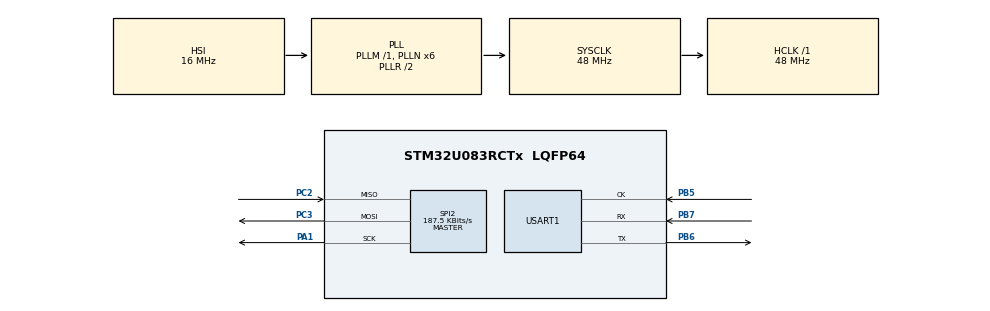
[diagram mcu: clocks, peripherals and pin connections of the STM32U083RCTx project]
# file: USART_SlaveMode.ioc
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Mcu.Family=STM32U0
Mcu.Name=STM32U083RCTx
Mcu.Package=LQFP64
NVIC.PriorityGroup=NVIC_PRIORITYGROUP_2
PA1.GPIO_PuPd=GPIO_NOPULL
PA1.GPIO_Speed=GPIO_SPEED_FREQ_VERY_HIGH
PA1.Mode=Full_Duplex_Master
PA1.Signal=SPI2_SCK
PB5.GPIO_PuPd=GPIO_PULLDOWN
PB5.GPIO_Speed=GPIO_SPEED_FREQ_VERY_HIGH
PB5.Mode=Synchronous Slave
PB5.Signal=USART1_CK
PB6.GPIO_PuPd=GPIO_PULLUP
PB6.GPIO_Speed=GPIO_SPEED_FREQ_VERY_HIGH
PB6.Mode=Synchronous Slave
PB6.Signal=USART1_TX
PB7.GPIO_PuPd=GPIO_PULLUP
PB7.GPIO_Speed=GPIO_SPEED_FREQ_VERY_HIGH
PB7.Mode=Synchronous Slave
PB7.Signal=USART1_RX
PC2.GPIO_Speed=GPIO_SPEED_FREQ_VERY_HIGH
PC2.Mode=Full_Duplex_Master
PC2.Signal=SPI2_MISO
PC3.GPIO_Speed=GPIO_SPEED_FREQ_VERY_HIGH
PC3.Mode=Full_Duplex_Master
PC3.Signal=SPI2_MOSI
ProjectManager.HeapSize=0x200
ProjectManager.StackSize=0x400
ProjectManager.TargetToolchain=EWARM V9.20
RCC.ADCFreq_Value=48000000
RCC.AHBFreq_Value=48000000
RCC.CortexFreq_Value=48000000
RCC.HCLKFreq_Value=48000000
RCC.HSE_VALUE=4000000
RCC.HSI48_VALUE=48000000
RCC.HSI_VALUE=16000000
RCC.LSE_VALUE=32768
RCC.MSI_VALUE=4000000
RCC.PLLN=6
RCC.SYSCLKFreq_VALUE=48000000
RCC.SYSCLKSource=RCC_SYSCLKSOURCE_PLLCLK
RCC.VCOOutputFreq_Value=96000000
SPI2.BaudRatePrescaler=SPI_BAUDRATEPRESCALER_256
SPI2.CalculateBaudRate=187.5 KBits/s
SPI2.DataSize=SPI_DATASIZE_8BIT
SPI2.Direction=SPI_DIRECTION_2LINES
SPI2.FirstBit=SPI_FIRSTBIT_LSB
SPI2.Mode=SPI_MODE_MASTER
SPI2.NSSPMode=SPI_NSS_PULSE_DISABLE
SPI2.VirtualType=VM_MASTER
USART1.CLKLastBit=USART_LASTBIT_ENABLE
USART1.VirtualMode-Synchronous\ Slave=VM_SYNC
VP_PWR_VS_SECSignals.Mode=Security/Privilege
board=custom

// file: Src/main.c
/* USER CODE BEGIN Header */
/**
  ******************************************************************************
  * @file    USART/USART_SlaveMode/Src/main.c
  * @author  MCD Application Team
  * @brief   This sample code shows how to use USART HAL API (USART instance)
  *          to set up a USART-SPI communication.
  *          Two boards are used, one configured as a SPI master and the second
  *          one configured as an USART slave.
  ******************************************************************************
  * @attention
  *
  * Copyright (c) 2023 STMicroelectronics.
  * All rights reserved.
  *
  * This software is licensed under terms that can be found in the LICENSE file
  * in the root directory of this software component.
  * If no LICENSE file comes with this software, it is provided AS-IS.
  *
  ******************************************************************************
  */
/* USER CODE END Header */
#include "main.h"

/* USER CODE BEGIN PD */
#define SLAVE_BOARD
/* USER CODE END PD */

SPI_HandleTypeDef hspi2;

USART_HandleTypeDef husart1;

/* USER CODE BEGIN PV */
__IO uint32_t UserButtonStatus = 0; /* set to 1 after User Button interrupt */

/* Buffer used for transmission */
uint8_t aTxBuffer[] = " **** USART_SlaveMode ****  **** USART_SlaveMode ****  **** USART_SlaveMode **** ";

/* Buffer used for reception */
uint8_t aRxBuffer[RXBUFFERSIZE];
/* USER CODE END PV */

void SystemClock_Config(void);
static void MX_GPIO_Init(void);
static void MX_SPI2_Init(void);
static void MX_USART1_Init(void);
/* USER CODE BEGIN PFP */
static uint16_t Buffercmp(uint8_t* pBuffer1, uint8_t* pBuffer2, uint16_t BufferLength);
/* USER CODE END PFP */

int main(void)
{
  /* USER CODE BEGIN 1 */
  /* STM32U0xx HAL library initialization:
       - Configure the Flash prefetch
       - Systick timer is configured by default as source of time base, but user
         can eventually implement his proper time base source (a general purpose
         timer for example or other time source), keeping in mind that Time base
         duration should be kept 1ms since PPP_TIMEOUT_VALUEs are defined and
         handled in milliseconds basis.
       - Low Level Initialization
     */
  /* USER CODE END 1 */

  /* MCU Configuration--------------------------------------------------------*/

  /* Reset of all peripherals, Initializes the Flash interface and the Systick. */
  HAL_Init();

  /* Configure the system clock */
  SystemClock_Config();

  /* USER CODE BEGIN SysInit */
  /* Initialize BSP LED */
  BSP_LED_Init(LED4);
  /* USER CODE END SysInit */

  /* Initialize all configured peripherals */
  MX_GPIO_Init();
  MX_SPI2_Init();
  MX_USART1_Init();
  /* USER CODE BEGIN 2 */

#ifdef SLAVE_BOARD

  /*## Start the transmission/reception process ###########################*/
  if(HAL_USART_TransmitReceive(&husart1, (uint8_t*)aTxBuffer, (uint8_t*)aRxBuffer, TXBUFFERSIZE, 0x1FFFFFF)!= HAL_OK)
  {
    Error_Handler();
  }

#else

  /*## Configure the user button ##########################################*/

  /* Configure User push-button in Interrupt mode */
  BSP_PB_Init(BUTTON_USER, BUTTON_MODE_EXTI);

  /* Wait for User push-button press before starting the Communication.
     In the meantime, LED4 is blinking */
  while(UserButtonStatus == 0)
  {
    /* Toggle LED4 */
    BSP_LED_Toggle(LED4);
    HAL_Delay(100);
  }

  BSP_LED_Off(LED4);

  /*## Start the transmission/reception process ###########################*/
  if(HAL_SPI_TransmitReceive(&hspi2, (uint8_t*)aTxBuffer, (uint8_t*)aRxBuffer, TXBUFFERSIZE, 5000)!= HAL_OK)
  {
    Error_Handler();
  }

#endif /* SLAVE_BOARD */

  /*## Compare the sent and received buffers ##############################*/
  if(Buffercmp((uint8_t*)aTxBuffer,(uint8_t*)aRxBuffer,RXBUFFERSIZE))
  {
    Error_Handler();
  }

  /* Turn on LED4 if test passes then enter infinite loop */
  BSP_LED_On(LED4);

  /* The SPI Master board receives the message and sends it back */

  /* USER CODE END 2 */

  /* Infinite loop */
  while (1)
  {

  }
}

void SystemClock_Config(void)
{
  RCC_OscInitTypeDef RCC_OscInitStruct = {0};
  RCC_ClkInitTypeDef RCC_ClkInitStruct = {0};

  /** Configure the main internal regulator output voltage
  */
  HAL_PWREx_ControlVoltageScaling(PWR_REGULATOR_VOLTAGE_SCALE1);

  /** Initializes the RCC Oscillators according to the specified parameters
  * in the RCC_OscInitTypeDef structure.
  */
  RCC_OscInitStruct.OscillatorType = RCC_OSCILLATORTYPE_HSI;
  RCC_OscInitStruct.HSIState = RCC_HSI_ON;
  RCC_OscInitStruct.HSICalibrationValue = RCC_HSICALIBRATION_DEFAULT;
  RCC_OscInitStruct.PLL.PLLState = RCC_PLL_ON;
  RCC_OscInitStruct.PLL.PLLSource = RCC_PLLSOURCE_HSI;
  RCC_OscInitStruct.PLL.PLLM = RCC_PLLM_DIV1;
  RCC_OscInitStruct.PLL.PLLN = 6;
  RCC_OscInitStruct.PLL.PLLP = RCC_PLLP_DIV2;
  RCC_OscInitStruct.PLL.PLLQ = RCC_PLLQ_DIV2;
  RCC_OscInitStruct.PLL.PLLR = RCC_PLLR_DIV2;
  if (HAL_RCC_OscConfig(&RCC_OscInitStruct) != HAL_OK)
  {
    Error_Handler();
  }

  /** Initializes the CPU, AHB and APB buses clocks
  */
  RCC_ClkInitStruct.ClockType = RCC_CLOCKTYPE_HCLK|RCC_CLOCKTYPE_SYSCLK
                              |RCC_CLOCKTYPE_PCLK1;
  RCC_ClkInitStruct.SYSCLKSource = RCC_SYSCLKSOURCE_PLLCLK;
  RCC_ClkInitStruct.AHBCLKDivider = RCC_SYSCLK_DIV1;
  RCC_ClkInitStruct.APB1CLKDivider = RCC_HCLK_DIV1;

  if (HAL_RCC_ClockConfig(&RCC_ClkInitStruct, FLASH_LATENCY_1) != HAL_OK)
  {
    Error_Handler();
  }
}

static void MX_SPI2_Init(void)
{

  /* SPI2 parameter configuration*/
  hspi2.Instance = SPI2;
  hspi2.Init.Mode = SPI_MODE_MASTER;
  hspi2.Init.Direction = SPI_DIRECTION_2LINES;
  hspi2.Init.DataSize = SPI_DATASIZE_8BIT;
  hspi2.Init.CLKPolarity = SPI_POLARITY_LOW;
  hspi2.Init.CLKPhase = SPI_PHASE_1EDGE;
  hspi2.Init.NSS = SPI_NSS_SOFT;
  hspi2.Init.BaudRatePrescaler = SPI_BAUDRATEPRESCALER_256;
  hspi2.Init.FirstBit = SPI_FIRSTBIT_LSB;
  hspi2.Init.TIMode = SPI_TIMODE_DISABLE;
  hspi2.Init.CRCCalculation = SPI_CRCCALCULATION_DISABLE;
  hspi2.Init.CRCPolynomial = 7;
  hspi2.Init.CRCLength = SPI_CRC_LENGTH_DATASIZE;
  hspi2.Init.NSSPMode = SPI_NSS_PULSE_DISABLE;
  if (HAL_SPI_Init(&hspi2) != HAL_OK)
  {
    Error_Handler();
  }

}

static void MX_USART1_Init(void)
{

  husart1.Instance = USART1;
  husart1.Init.BaudRate = 115200;
  husart1.Init.WordLength = USART_WORDLENGTH_8B;
  husart1.Init.StopBits = USART_STOPBITS_1;
  husart1.Init.Parity = USART_PARITY_NONE;
  husart1.Init.Mode = USART_MODE_TX_RX;
  husart1.Init.CLKPolarity = USART_POLARITY_LOW;
  husart1.Init.CLKPhase = USART_PHASE_1EDGE;
  husart1.Init.CLKLastBit = USART_LASTBIT_ENABLE;
  husart1.Init.ClockPrescaler = USART_PRESCALER_DIV1;
  husart1.SlaveMode = USART_SLAVEMODE_ENABLE;
  if (HAL_USART_Init(&husart1) != HAL_OK)
  {
    Error_Handler();
  }
  if (HAL_USARTEx_SetTxFifoThreshold(&husart1, USART_TXFIFO_THRESHOLD_1_8) != HAL_OK)
  {
    Error_Handler();
  }
  if (HAL_USARTEx_SetRxFifoThreshold(&husart1, USART_RXFIFO_THRESHOLD_1_8) != HAL_OK)
  {
    Error_Handler();
  }
  if (HAL_USARTEx_DisableFifoMode(&husart1) != HAL_OK)
  {
    Error_Handler();
  }
  if (HAL_USARTEx_EnableSlaveMode(&husart1) != HAL_OK)
  {
    Error_Handler();
  }

}

static void MX_GPIO_Init(void)
{

  /* GPIO Ports Clock Enable */
  __HAL_RCC_GPIOC_CLK_ENABLE();
  __HAL_RCC_GPIOA_CLK_ENABLE();
  __HAL_RCC_GPIOB_CLK_ENABLE();

}

/* USER CODE BEGIN 4 */
/**
  * @brief EXTI line detection callbacks
  * @param GPIO_Pin: Specifies the pins connected EXTI line
  * @retval None
  */
void HAL_GPIO_EXTI_Falling_Callback(uint16_t GPIO_Pin)
{
  if (GPIO_Pin == BUTTON_USER_PIN)
  {
    UserButtonStatus = 1;
  }
}

/**
  * @brief  Compares two buffers.
  * @param  pBuffer1, pBuffer2: buffers to be compared.
  * @param  BufferLength: buffer's length
  * @retval 0  : pBuffer1 identical to pBuffer2
  *         >0 : pBuffer1 differs from pBuffer2
  */
static uint16_t Buffercmp(uint8_t* pBuffer1, uint8_t* pBuffer2, uint16_t BufferLength)
{
  while (BufferLength--)
  {
    if ((*pBuffer1) != *pBuffer2)
    {
      return BufferLength;
    }
    pBuffer1++;
    pBuffer2++;
  }

  return 0;
}

/* USER CODE END 4 */

void Error_Handler(void)
{
  /* USER CODE BEGIN Error_Handler_Debug */
  /* User can add his own implementation to report the HAL error return state */
  while(1)
  {
    /* LED4 is blinking */
    BSP_LED_Toggle(LED4);
    HAL_Delay(500);
  }
  /* USER CODE END Error_Handler_Debug */
}
